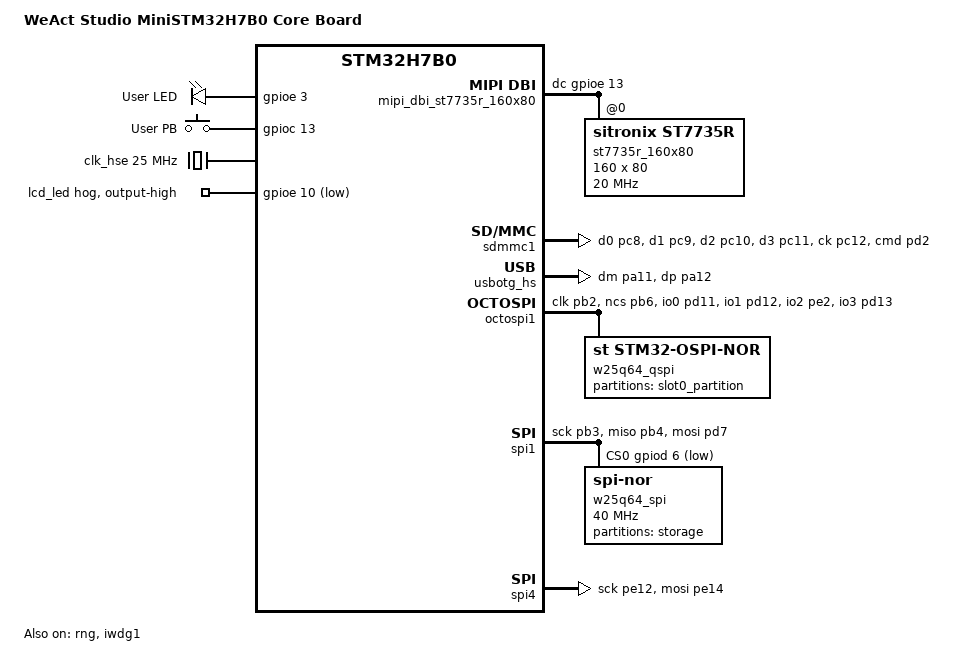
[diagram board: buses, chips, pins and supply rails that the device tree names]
/*
 * Copyright (c) 2024 Linaro Limited
 *
 * SPDX-License-Identifier: Apache-2.0
 */

/dts-v1/;
#include <st/h7/stm32h7b0Xb.dtsi>
#include <st/h7/stm32h7b0vbtx-pinctrl.dtsi>
#include <zephyr/dt-bindings/input/input-event-codes.h>
#include <zephyr/dt-bindings/mipi_dbi/mipi_dbi.h>

/ {
	model = "WeAct Studio MiniSTM32H7B0 Core Board";
	compatible = "weact,mini-stm32h7b0";

	chosen {
		zephyr,sram = &sram0;
		zephyr,flash = &flash0;
		zephyr,display = &st7735r_160x80;
	};

	leds {
		compatible = "gpio-leds";
		user_led: led {
			gpios = <&gpioe 3 GPIO_ACTIVE_HIGH>;
			label = "User LED";
		};
	};

	gpio_keys {
		compatible = "gpio-keys";
		user_button: button {
			label = "User PB";
			gpios = <&gpioc 13 (GPIO_ACTIVE_HIGH | GPIO_PULL_DOWN)>;
			zephyr,code = <INPUT_KEY_0>;
		};
	};

	mipi_dbi_st7735r_160x80 {
		compatible = "zephyr,mipi-dbi-spi";
		spi-dev = <&spi4>;
		dc-gpios = <&gpioe 13 GPIO_ACTIVE_HIGH>;
		#address-cells = <1>;
		#size-cells = <0>;

		st7735r_160x80: st7735r@0 {
			compatible = "sitronix,st7735r";
			mipi-max-frequency = <20000000>;
			mipi-mode = "MIPI_DBI_MODE_SPI_4WIRE";
			reg = <0>;
			width = <160>;
			height = <80>;
			inversion-on;
			rgb-is-inverted;
			x-offset = <1>;
			y-offset = <26>;
			pwctr1 = [A2 02 84];
			pwctr2 = [C5];
			pwctr3 = [0A 00];
			pwctr4 = [8A 2A];
			pwctr5 = [8A EE];
			invctr = <7>;
			frmctr1 = [01 2C 2D];
			frmctr2 = [01 2C 2D];
			frmctr3 = [01 2C 2D 01 2C 2D];
			vmctr1 = <14>;
			gamctrp1 = [02 1C 07 12 37 32 29 2D 29 25 2B 39 00 01 03 10];
			gamctrn1 = [03 1D 07 06 2E 2C 29 2D 2E 2E 37 3F 00 00 02 10];
			colmod = <5>;
			/* Set D3 (RGB) bit to 1. LV_COLOR_16_SWAP is enabled by default */
			madctl = <120>; /* Set to <184> to rotate the image 180 degrees. */
			caset = [00 01 00 a0];
			raset = [00 1a 00 69];
		};
	};

	aliases {
		led0 = &user_led;
		sw0 = &user_button;
		watchdog0 = &iwdg;
		sdhc0 = &sdmmc1;
	};
};

&clk_lsi {
	status = "okay";
};

&clk_hsi48 {
	status = "okay";
};

&clk_hse {
	clock-frequency = <DT_FREQ_M(25)>;
	status = "okay";
};

&pll {
	div-m = <5>;
	mul-n = <112>;
	div-p = <2>;
	div-q = <2>;
	div-r = <2>;
	clocks = <&clk_hse>;
	status = "okay";
};

&rcc {
	clocks = <&pll>;
	clock-frequency = <DT_FREQ_M(280)>;
	d1cpre = <1>;
	hpre = <2>;
	d1ppre = <1>;
	d2ppre1 = <1>;
	d2ppre2 = <1>;
	d3ppre = <1>;
};

&sdmmc1 {
	pinctrl-0 = <&sdmmc1_d0_pc8 &sdmmc1_d1_pc9
		     &sdmmc1_d2_pc10 &sdmmc1_d3_pc11
		     &sdmmc1_ck_pc12 &sdmmc1_cmd_pd2>;
	pinctrl-names = "default";
	cd-gpios = <&gpiod 4 (GPIO_ACTIVE_HIGH | GPIO_PULL_UP)>;
	status = "okay";
};

zephyr_udc0: &usbotg_hs {
	pinctrl-0 = <&usb_otg_hs_dm_pa11 &usb_otg_hs_dp_pa12>;
	pinctrl-names = "default";
	status = "okay";
};

#include <../boards/common/usb/cdc_acm_serial.dtsi>

&octospi1 {
	pinctrl-names = "default";
	pinctrl-0 = <&octospim_p1_clk_pb2 &octospim_p1_ncs_pb6
		&octospim_p1_io0_pd11 &octospim_p1_io1_pd12
		&octospim_p1_io2_pe2 &octospim_p1_io3_pd13>;
	status = "okay";

	w25q64_qspi: ospi-nor-flash@90000000 {
		compatible = "st,stm32-ospi-nor";
		reg = <0x90000000 DT_SIZE_M(64)>; /* 64 Mbits */
		ospi-max-frequency = <40000000>;
		status = "okay";
		spi-bus-width = <4>;
		data-rate = <OSPI_STR_TRANSFER>;
		writeoc = "PP_1_1_4";

		partitions {
			compatible = "fixed-partitions";
			#address-cells = <1>;
			#size-cells = <1>;
			slot0_partition: partition@0 {
				reg = <0x00000000 DT_SIZE_M(64)>;
			};
		};
	};
};

&spi1 {
	pinctrl-0 = <&spi1_sck_pb3 &spi1_miso_pb4 &spi1_mosi_pd7>;
	cs-gpios = <&gpiod 6 GPIO_ACTIVE_LOW>;
	pinctrl-names = "default";
	status = "okay";
	w25q64_spi: spi-nor-flash@0 {
		compatible = "jedec,spi-nor";
		reg = <0>;
		spi-max-frequency = <40000000>;
		size = <DT_SIZE_M(64)>; /* 64 Mbits */
		status = "okay";
		jedec-id = [ef 40 17];
		has-dpd;
		t-enter-dpd = <3500>;
		t-exit-dpd = <3500>;
		partitions {
			compatible = "fixed-partitions";
			#address-cells = <1>;
			#size-cells = <1>;
			storage_partition: partition@0 {
				label = "storage";
				reg = <0x00000000 DT_SIZE_M(64)>;
			};
		};
	};
};

&gpioe {
	status = "okay";

	lcd_led {
		gpio-hog;
		gpios = <10 GPIO_ACTIVE_LOW>;
		output-high;
	};
};

&spi4 {
	pinctrl-0 = <&spi4_sck_pe12 &spi4_mosi_pe14>;
	cs-gpios = <&gpioe 11 GPIO_ACTIVE_LOW>;
	pinctrl-names = "default";
	status = "okay";
};

&rng {
	status = "okay";
};

&backup_sram {
	status = "okay";
};

&iwdg1 {
	status = "okay";
};
